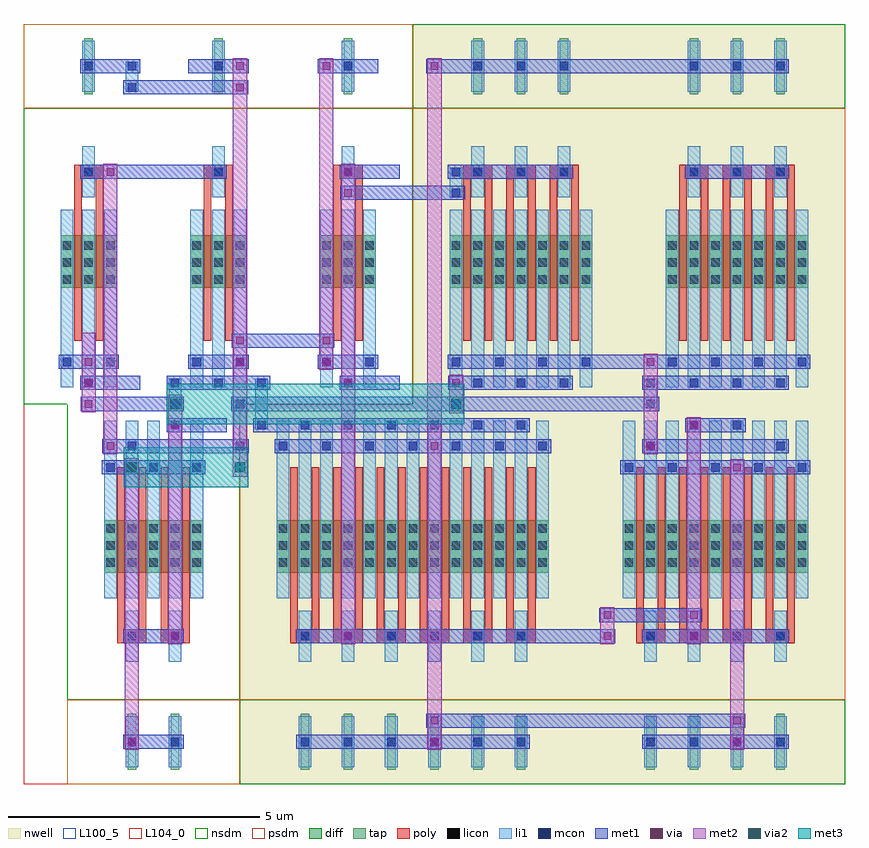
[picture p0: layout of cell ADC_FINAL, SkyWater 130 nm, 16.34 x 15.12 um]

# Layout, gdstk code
import gdstk
lib = gdstk.Library(unit=1e-6, precision=1e-09)
def R(c, l, rs):  # rectangles x0, y0, x1, y1
    for r in rs: c.add(gdstk.rectangle(r[:2], r[2:], *l))
def A(c, l, x, y, w, h, nx, ny, dx, dy):  # array of equal rectangles
    R(c, l, [(x+i*dx, y+j*dy, x+i*dx+w, y+j*dy+h) for i in range(nx) for j in range(ny)])
nwell = (64, 20)
diff = (65, 20)
tap = (65, 44)
poly = (66, 20)
licon = (66, 44)
li1 = (67, 20)
mcon = (67, 44)
met1 = (68, 20)
via = (68, 44)
met2 = (69, 20)
via2 = (69, 44)
met3 = (70, 20)
nsdm = (93, 44)
psdm = (94, 20)
L100_5 = (100, 5)
L104_0 = (104, 0)

adc_final = lib.new_cell('ADC_FINAL')
R(adc_final, nwell, [(4.3,0,11.18,7.56), (11.18,0,16.34,7.56), (7.74,7.56,12.04,15.12), (12.04,7.56,16.34,15.12)])
A(adc_final, diff, 0.735, 9.87, 1.11, 1.05, 3, 1, 2.58, 0)
R(adc_final, diff, [(1.595,4.2,3.565,5.25), (5.035,4.2,10.445,5.25), (11.915,4.2,15.605,5.25), (8.475,9.87,11.305,10.92), (12.775,9.87,15.605,10.92)])
A(adc_final, tap, 5.505, 0.28, 0.17, 1.12, 6, 1, 0.86, 0)
A(adc_final, tap, 12.385, 0.28, 0.17, 1.12, 4, 1, 0.86, 0)
A(adc_final, tap, 1.205, 13.72, 0.17, 1.12, 4, 1, 2.58, 0)
A(adc_final, tap, 13.245, 13.72, 0.17, 1.12, 3, 1, 0.86, 0)
R(adc_final, tap, [(2.065,0.28,2.235,1.4), (2.925,0.28,3.095,1.4), (9.805,13.72,9.975,14.84), (10.665,13.72,10.835,14.84)])
A(adc_final, poly, 5.3, 2.805, 0.58, 0.27, 6, 1, 0.86, 0)
A(adc_final, poly, 12.18, 2.805, 0.58, 0.27, 4, 1, 0.86, 0)
A(adc_final, poly, 1.86, 2.94, 0.15, 3.36, 4, 1, 0.43, 0)
A(adc_final, poly, 5.3, 2.94, 0.15, 3.36, 12, 1, 0.43, 0)
A(adc_final, poly, 12.18, 2.94, 0.15, 3.36, 8, 1, 0.43, 0)
A(adc_final, poly, 8.74, 8.82, 0.15, 3.36, 6, 1, 0.43, 0)
A(adc_final, poly, 13.04, 8.82, 0.15, 3.36, 6, 1, 0.43, 0)
A(adc_final, poly, 1, 12.045, 0.58, 0.27, 4, 1, 2.58, 0)
A(adc_final, poly, 13.04, 12.045, 0.58, 0.27, 3, 1, 0.86, 0)
R(adc_final, poly, [(1.86,2.805,2.44,3.075), (2.72,2.805,3.3,3.075), (1,8.82,1.15,12.18), (1.43,8.82,1.58,12.18), (3.58,8.82,3.73,12.18), (4.01,8.82,4.16,12.18), (6.16,8.82,6.31,12.18), (6.59,8.82,6.74,12.18), (9.6,12.045,10.18,12.315), (10.46,12.045,11.04,12.315)])
A(adc_final, licon, 5.505, 0.755, 0.17, 0.17, 6, 2, 0.86, 2.1)
A(adc_final, licon, 12.385, 0.755, 0.17, 0.17, 4, 2, 0.86, 2.1)
A(adc_final, licon, 1.635, 4.32, 0.17, 0.17, 3, 3, 0.43, 0.34)
A(adc_final, licon, 2.495, 4.32, 0.17, 0.17, 3, 3, 0.43, 0.34)
A(adc_final, licon, 5.075, 4.32, 0.17, 0.17, 3, 3, 0.43, 0.34)
A(adc_final, licon, 5.935, 4.32, 0.17, 0.17, 3, 3, 0.43, 0.34)
A(adc_final, licon, 6.795, 4.32, 0.17, 0.17, 3, 3, 0.43, 0.34)
A(adc_final, licon, 7.655, 4.32, 0.17, 0.17, 3, 3, 0.43, 0.34)
A(adc_final, licon, 8.515, 4.32, 0.17, 0.17, 3, 3, 0.43, 0.34)
A(adc_final, licon, 9.375, 4.32, 0.17, 0.17, 3, 3, 0.43, 0.34)
A(adc_final, licon, 11.955, 4.32, 0.17, 0.17, 3, 3, 0.43, 0.34)
A(adc_final, licon, 12.815, 4.32, 0.17, 0.17, 3, 3, 0.43, 0.34)
A(adc_final, licon, 13.675, 4.32, 0.17, 0.17, 3, 3, 0.43, 0.34)
A(adc_final, licon, 14.535, 4.32, 0.17, 0.17, 3, 3, 0.43, 0.34)
A(adc_final, licon, 0.775, 9.95, 0.17, 0.17, 3, 3, 0.43, 0.34)
A(adc_final, licon, 3.355, 9.95, 0.17, 0.17, 3, 3, 0.43, 0.34)
A(adc_final, licon, 5.935, 9.95, 0.17, 0.17, 3, 3, 0.43, 0.34)
A(adc_final, licon, 8.515, 9.95, 0.17, 0.17, 3, 3, 0.43, 0.34)
A(adc_final, licon, 9.375, 9.95, 0.17, 0.17, 3, 3, 0.43, 0.34)
A(adc_final, licon, 10.235, 9.95, 0.17, 0.17, 3, 3, 0.43, 0.34)
A(adc_final, licon, 12.815, 9.95, 0.17, 0.17, 3, 3, 0.43, 0.34)
A(adc_final, licon, 13.675, 9.95, 0.17, 0.17, 3, 3, 0.43, 0.34)
A(adc_final, licon, 14.535, 9.95, 0.17, 0.17, 3, 3, 0.43, 0.34)
A(adc_final, licon, 1.205, 12.095, 0.17, 0.17, 4, 2, 2.58, 2.1)
A(adc_final, licon, 13.245, 12.095, 0.17, 0.17, 3, 2, 0.86, 2.1)
R(adc_final, licon, [(2.065,0.755,2.235,0.925), (2.925,0.755,3.095,0.925), (2.065,2.855,2.235,3.025), (2.925,2.855,3.095,3.025), (9.805,12.095,9.975,12.265), (10.665,12.095,10.835,12.265), (9.805,14.195,9.975,14.365), (10.665,14.195,10.835,14.365)])
A(adc_final, li1, 5.465, 0.335, 0.25, 1.01, 6, 2, 0.86, 2.1)
A(adc_final, li1, 12.345, 0.335, 0.25, 1.01, 4, 2, 0.86, 2.1)
A(adc_final, li1, 1.595, 3.695, 0.25, 3.53, 5, 1, 0.43, 0)
A(adc_final, li1, 5.035, 3.695, 0.25, 3.53, 13, 1, 0.43, 0)
A(adc_final, li1, 11.915, 3.695, 0.25, 3.53, 9, 1, 0.43, 0)
A(adc_final, li1, 0.735, 7.895, 0.25, 3.53, 3, 1, 0.43, 0)
A(adc_final, li1, 3.315, 7.895, 0.25, 3.53, 3, 1, 0.43, 0)
A(adc_final, li1, 5.895, 7.895, 0.25, 3.53, 3, 1, 0.43, 0)
A(adc_final, li1, 8.475, 7.895, 0.25, 3.53, 7, 1, 0.43, 0)
A(adc_final, li1, 12.775, 7.895, 0.25, 3.53, 7, 1, 0.43, 0)
A(adc_final, li1, 1.165, 11.675, 0.25, 1.01, 4, 2, 2.58, 2.1)
A(adc_final, li1, 13.205, 11.675, 0.25, 1.01, 3, 2, 0.86, 2.1)
R(adc_final, li1, [(2.025,0.335,2.275,1.345), (2.885,0.335,3.135,1.345), (2.025,2.435,2.275,3.445), (2.885,2.435,3.135,3.445), (4.175,6.635,4.425,7.645), (4.605,7.055,4.855,8.065), (2.885,7.475,3.135,8.065), (12.345,7.475,12.595,8.065), (8.475,11.675,8.725,12.265), (9.765,11.675,10.015,12.685), (10.625,11.675,10.875,12.685), (2.025,13.775,2.275,14.365), (9.765,13.775,10.015,14.785), (10.625,13.775,10.875,14.785)])
A(adc_final, mcon, 5.505, 0.755, 0.17, 0.17, 6, 2, 0.86, 2.1)
A(adc_final, mcon, 12.385, 0.755, 0.17, 0.17, 4, 2, 0.86, 2.1)
A(adc_final, mcon, 1.635, 6.215, 0.17, 0.17, 3, 1, 0.86, 0)
A(adc_final, mcon, 11.955, 6.215, 0.17, 0.17, 5, 1, 0.86, 0)
A(adc_final, mcon, 4.215, 6.635, 0.17, 0.17, 8, 1, 0.86, 0)
A(adc_final, mcon, 4.645, 7.055, 0.17, 0.17, 7, 1, 0.86, 0)
A(adc_final, mcon, 2.925, 7.895, 0.17, 0.17, 3, 1, 0.86, 0)
A(adc_final, mcon, 8.945, 7.895, 0.17, 0.17, 3, 2, 0.86, 4.2)
A(adc_final, mcon, 12.385, 7.895, 0.17, 0.17, 4, 1, 0.86, 0)
A(adc_final, mcon, 8.515, 8.315, 0.17, 0.17, 4, 1, 0.86, 0)
A(adc_final, mcon, 12.815, 8.315, 0.17, 0.17, 4, 1, 0.86, 0)
A(adc_final, mcon, 1.205, 12.095, 0.17, 0.17, 3, 1, 2.58, 0)
A(adc_final, mcon, 13.245, 12.095, 0.17, 0.17, 3, 2, 0.86, 2.1)
A(adc_final, mcon, 3.785, 14.195, 0.17, 0.17, 3, 1, 2.58, 0)
R(adc_final, mcon, [(2.065,0.755,2.235,0.925), (2.925,0.755,3.095,0.925), (2.065,2.855,2.235,3.025), (2.925,2.855,3.095,3.025), (2.065,6.635,2.235,6.805), (12.385,6.635,12.555,6.805), (14.965,6.635,15.135,6.805), (2.925,7.055,3.095,7.225), (13.245,7.055,13.415,7.225), (14.105,7.055,14.275,7.225), (2.925,7.475,3.095,7.645), (4.215,7.475,4.385,7.645), (12.385,7.475,12.555,7.645), (1.205,7.895,1.375,8.065), (6.365,7.895,6.535,8.065), (0.775,8.315,0.945,8.485), (1.635,8.315,1.805,8.485), (3.355,8.315,3.525,8.485), (4.215,8.315,4.385,8.485), (5.935,8.315,6.105,8.485), (6.795,8.315,6.965,8.485), (8.515,11.675,8.685,11.845), (8.515,12.095,8.685,12.265), (2.065,13.775,2.235,13.945), (1.205,14.195,1.375,14.365), (2.065,14.195,2.235,14.365), (9.805,14.195,9.975,14.365), (10.665,14.195,10.835,14.365)])
A(adc_final, met1, 0.69, 8.26, 1.2, 0.28, 3, 1, 2.58, 0)
R(adc_final, met1, [(1.98,0.7,3.18,0.98), (5.42,0.7,10.06,0.98), (12.3,0.7,15.22,0.98), (8.01,1.12,14.35,1.4), (1.98,2.8,3.18,3.08), (5.42,2.8,11.77,3.08), (12.3,2.8,15.22,3.08), (11.45,3.22,13.49,3.5), (1.55,6.16,3.61,6.44), (11.87,6.16,15.65,6.44), (1.56,6.58,4.47,6.86), (4.99,6.58,10.49,6.86), (12.3,6.58,15.22,6.86), (2.84,7,4.04,7.28), (4.56,7,10.06,7.28), (13.16,7,14.36,7.28), (1.13,7.42,3.18,7.7), (4.13,7.42,12.64,7.7), (1.12,7.84,2.32,8.12), (2.84,7.84,4.9,8.12), (6.28,7.84,7.48,8.12), (8.44,7.84,10.92,8.12), (12.3,7.84,15.22,8.12), (8.43,8.26,15.65,8.54), (4.14,8.68,6.18,8.96), (6.29,11.62,8.77,11.9), (1.12,12.04,4.04,12.32), (6.28,12.04,7.48,12.32), (8.43,12.04,10.92,12.32), (13.16,12.04,15.22,12.32), (1.98,13.72,4.46,14), (1.12,14.14,2.32,14.42), (3.27,14.14,4.47,14.42), (5.85,14.14,7.05,14.42), (8.01,14.14,15.22,14.42)])
A(adc_final, via, 2.075, 0.765, 0.15, 0.15, 3, 1, 6.02, 0)
A(adc_final, via, 1.215, 7.485, 0.15, 0.15, 1, 3, 0, 0.42)
R(adc_final, via, [(8.095,1.185,8.245,1.335), (14.115,1.185,14.265,1.335), (2.935,2.865,3.085,3.015), (6.375,2.865,6.525,3.015), (11.535,2.865,11.685,3.015), (13.255,2.865,13.405,3.015), (11.535,3.285,11.685,3.435), (13.255,3.285,13.405,3.435), (2.075,6.225,2.225,6.375), (14.115,6.225,14.265,6.375), (1.645,6.645,1.795,6.795), (8.095,6.645,8.245,6.795), (12.395,6.645,12.545,6.795), (2.935,7.065,3.085,7.215), (13.255,7.065,13.405,7.215), (6.375,7.905,6.525,8.055), (8.525,7.905,8.675,8.055), (4.225,8.325,4.375,8.475), (5.945,8.325,6.095,8.475), (12.395,8.325,12.545,8.475), (4.225,8.745,4.375,8.895), (5.945,8.745,6.095,8.895), (6.375,11.685,6.525,11.835), (1.645,12.105,1.795,12.255), (6.375,12.105,6.525,12.255), (4.225,13.785,4.375,13.935), (4.225,14.205,4.375,14.355), (5.945,14.205,6.095,14.355), (8.095,14.205,8.245,14.355)])
R(adc_final, met2, [(2.01,0.68,2.29,6.485), (8.03,0.68,8.31,14.44), (14.05,0.68,14.33,6.46), (2.87,2.78,3.15,7.745), (6.31,2.78,6.59,12.34), (11.47,2.78,11.75,3.52), (13.19,2.78,13.47,7.3), (4.16,6.115,4.44,14.44), (1.58,6.56,1.86,12.34), (12.33,6.56,12.61,8.56), (8.46,7.375,8.74,8.14), (1.15,7.4,1.43,8.98), (5.88,8.24,6.16,14.44)])
R(adc_final, via2, [(2.05,6.2,2.25,6.4), (4.2,6.2,4.4,6.4), (2.91,7.46,3.11,7.66), (8.5,7.46,8.7,7.66)])
R(adc_final, met3, [(1.985,5.9,4.465,6.7), (2.845,7.16,8.765,7.96)])
A(adc_final, nsdm, 0, 7.56, 2.58, 5.88, 3, 1, 2.58, 0)
R(adc_final, nsdm, [(4.3,0,11.18,1.68), (11.18,0,16.34,1.68), (0.86,1.68,4.3,7.56), (7.74,13.44,12.04,15.12), (12.04,13.44,16.34,15.12)])
A(adc_final, psdm, 0, 13.44, 2.58, 1.68, 3, 1, 2.58, 0)
R(adc_final, psdm, [(0.86,0,4.3,1.68), (4.3,1.68,11.18,7.56), (11.18,1.68,16.34,7.56), (7.74,7.56,12.04,13.44), (12.04,7.56,16.34,13.44)])
R(adc_final, L100_5, [(0,0,16.34,15.12)])
R(adc_final, L104_0, [(0,0,16.34,15.12)])

lib.write_gds('ADC_FINAL.gds')
